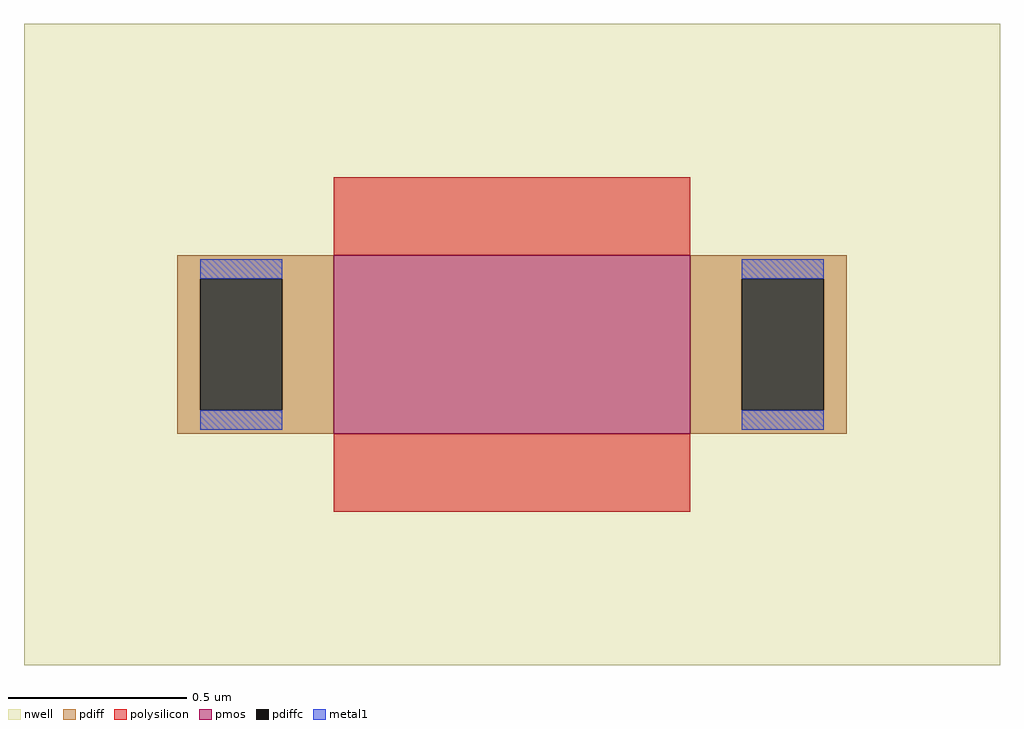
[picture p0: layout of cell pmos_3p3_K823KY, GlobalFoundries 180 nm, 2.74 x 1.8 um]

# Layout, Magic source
magic
tech gf180mcuC
magscale 1 10
<< nwell >>
rect -274 -180 274 180
<< pmos >>
rect -100 -50 100 50
<< pdiff >>
rect -188 37 -100 50
rect -188 -37 -175 37
rect -129 -37 -100 37
rect -188 -50 -100 -37
rect 100 37 188 50
rect 100 -37 129 37
rect 175 -37 188 37
rect 100 -50 188 -37
<< pdiffc >>
rect -175 -37 -129 37
rect 129 -37 175 37
<< polysilicon >>
rect -100 50 100 94
rect -100 -94 100 -50
<< metal1 >>
rect -175 37 -129 48
rect -175 -48 -129 -37
rect 129 37 175 48
rect 129 -48 175 -37
<< properties >>
string gencell pmos_3p3
string library gf180mcu
string parameters w 0.500 l 1 m 1 nf 1 diffcov 100 polycov 100 guard 0 glc 0 grc 0 gtc 0 gbc 0 tbcov 100 rlcov 100 topc 0 botc 0 poverlap 0 doverlap 1 lmin 0.28 wmin 0.22 full_metal 0 compatible {pmos_3p3 pmos_6p0}
<< end >>
